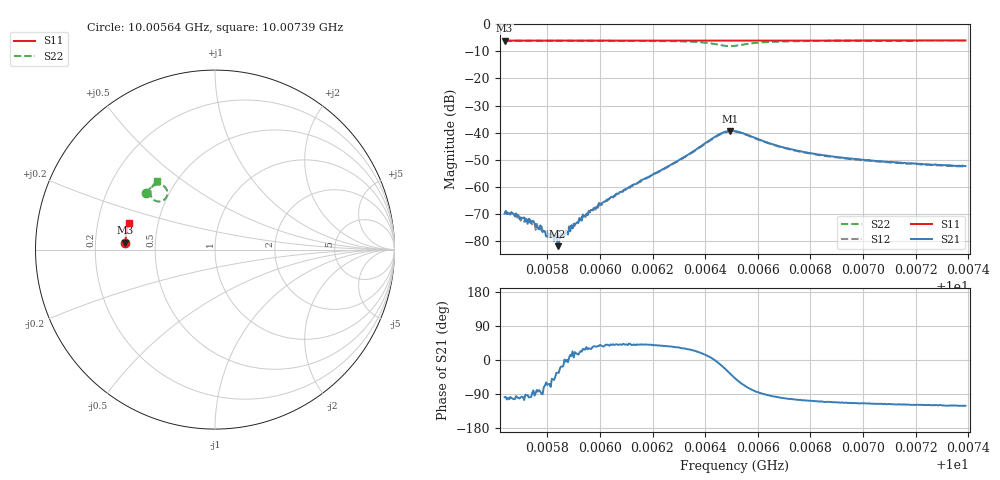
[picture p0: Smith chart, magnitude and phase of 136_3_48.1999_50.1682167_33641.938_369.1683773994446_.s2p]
#  HZ  S  RI  R  50.00
! Rohde & Schwarz Vector Network Analyzer
! Rohde-Schwarz,ZNB20-2Port,1311601062101988,3.16
! Created: UTC 3/20/2024, 11:42:07 AM
! freq[Hz]  re:S11  im:S11  re:S21  im:S21  re:S12  im:S12  re:S22  im:S22
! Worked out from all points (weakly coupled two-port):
!   401 points, 10.00564 GHz to 10.00739 GHz, reference 50 ohm
!   highest |S21| = -39.35 dB at 10.0065 GHz (marker M1); lowest = -82.0 dB at 10.00584 GHz (marker M2)
!   lowest |S11| = -6.0 dB at 10.00564 GHz (marker M3), VSWR 3.01, Z = 16.6 + j1.74 ohm
!   |S11| at or under -10 dB: nowhere
!   |S22| runs from -8.0 to -6.0 dB; largest |S21 - S12| = 0.00064
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1.0005638e10  -0.4994 0.0391  -4.47e-05 -0.000314  -4e-05 -0.000337  -0.3841 0.3157
1.0005673e10  -0.4994 0.0414  -7.33e-05 -0.000299  -7.71e-05 -0.000302  -0.3824 0.3177
1.0005738e10  -0.4991 0.0456  -2.8e-05 -0.000209  1.06e-05 -0.000225  -0.3793 0.3219
1.0005747e10  -0.4989 0.0462  3.88e-05 -0.000228  1.45e-06 -0.000202  -0.3787 0.3223
1.0005769e10  -0.4988 0.0476  2.98e-05 -0.00016  2.65e-05 -0.00018  -0.3778 0.3237
1.00058e10  -0.4988 0.0497  5.05e-05 -0.00011  5.24e-05 -0.000143  -0.376 0.3258
1.0005839e10  -0.4984 0.0522  6.66e-05 -4.36e-05  9.88e-05 -9.16e-05  -0.374 0.3282
1.0005852e10  -0.4984 0.0531  0.000133 -4.12e-05  0.000112 -6.42e-05  -0.3733 0.329
1.000587e10  -0.4985 0.0542  0.000139 -9.72e-06  0.000155 -1.64e-05  -0.3724 0.3301
1.0005879e10  -0.4984 0.0548  0.00013 -1.35e-05  0.000151 -2.24e-06  -0.3716 0.3307
1.0005931e10  -0.498 0.058  0.000219 8.82e-05  0.000254 0.000121  -0.3688 0.3342
1.0006001e10  -0.4976 0.0627  0.000364 0.000306  0.000353 0.000293  -0.364 0.3389
1.0006071e10  -0.4972 0.0673  0.00057 0.000475  0.000567 0.000517  -0.3587 0.3441
1.0006224e10  -0.4959 0.0772  0.00152 0.00121  0.00142 0.00124  -0.3418 0.3559
1.0006448e10  -0.4931 0.0915  0.00889 -0.00101  0.00875 -0.000536  -0.2675 0.3292
1.0006496e10  -0.4926 0.0938  0.00862 -0.00646  0.00875 -0.00586  -0.28 0.2805
1.0006514e10  -0.4925 0.095  0.00707 -0.00796  0.00735 -0.00739  -0.2968 0.2703
1.0006584e10  -0.4924 0.0993  0.00136 -0.00812  0.00174 -0.00787  -0.349 0.2848
1.0006684e10  -0.4916 0.1057  -0.000894 -0.00548  -0.000599 -0.00541  -0.3601 0.3196
1.0006807e10  -0.4902 0.1138  -0.00126 -0.00392  -0.00106 -0.00391  -0.3549 0.341
1.00071e10  -0.4861 0.1324  -0.00127 -0.00257  -0.00115 -0.00258  -0.3379 0.3669
1.0007389e10  -0.4813 0.1503  -0.00124 -0.00207  -0.00113 -0.00203  -0.3225 0.3836
